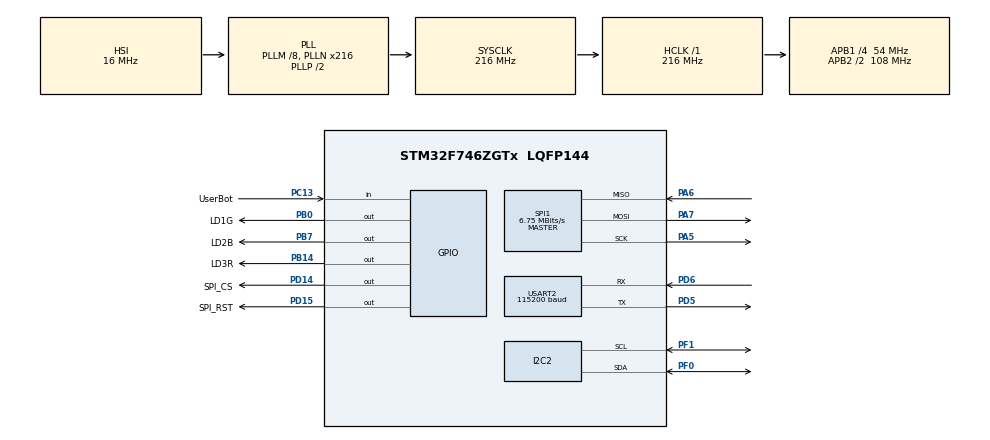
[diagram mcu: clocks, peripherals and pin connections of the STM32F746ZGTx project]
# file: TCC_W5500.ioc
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I2C2.Timing=0x20404768
Mcu.Family=STM32F7
Mcu.Name=STM32F746ZGTx
Mcu.Package=LQFP144
NVIC.PriorityGroup=NVIC_PRIORITYGROUP_4
NVIC.TIM2_IRQn=true\:0\:0\:false\:false\:true\:true\:true\:true
PA13.Mode=Serial_Wire
PA13.Signal=SYS_JTMS-SWDIO
PA14.Mode=Serial_Wire
PA14.Signal=SYS_JTCK-SWCLK
PA5.Mode=Full_Duplex_Master
PA5.Signal=SPI1_SCK
PA6.Mode=Full_Duplex_Master
PA6.Signal=SPI1_MISO
PA7.Mode=Full_Duplex_Master
PA7.Signal=SPI1_MOSI
PB0.GPIO_Label=LD1G
PB0.Signal=GPIO_Output
PB14.GPIO_Label=LD3R
PB14.Signal=GPIO_Output
PB7.GPIO_Label=LD2B
PB7.Signal=GPIO_Output
PC13.GPIO_Label=UserBot
PC13.Signal=GPIO_Input
PD14.GPIO_Label=SPI_CS
PD14.GPIO_Speed=GPIO_SPEED_FREQ_HIGH
PD14.Signal=GPIO_Output
PD15.GPIO_Label=SPI_RST
PD15.GPIO_Speed=GPIO_SPEED_FREQ_HIGH
PD15.Signal=GPIO_Output
PD5.Mode=Asynchronous
PD5.Signal=USART2_TX
PD6.Mode=Asynchronous
PD6.Signal=USART2_RX
PF0.Mode=I2C
PF0.Signal=I2C2_SDA
PF1.Mode=I2C
PF1.Signal=I2C2_SCL
PH0/OSC_IN.Mode=HSE-External-Oscillator
PH0/OSC_IN.Signal=RCC_OSC_IN
PH1/OSC_OUT.Mode=HSE-External-Oscillator
PH1/OSC_OUT.Signal=RCC_OSC_OUT
ProjectManager.HeapSize=0x200
ProjectManager.StackSize=0x400
ProjectManager.TargetToolchain=STM32CubeIDE
RCC.AHBFreq_Value=216000000
RCC.APB1CLKDivider=RCC_HCLK_DIV4
RCC.APB1Freq_Value=54000000
RCC.APB1TimFreq_Value=108000000
RCC.APB2CLKDivider=RCC_HCLK_DIV2
RCC.APB2Freq_Value=108000000
RCC.APB2TimFreq_Value=216000000
RCC.CortexFreq_Value=216000000
RCC.HCLKFreq_Value=216000000
RCC.HSE_VALUE=25000000
RCC.HSI_VALUE=16000000
RCC.LSE_VALUE=32768
RCC.PLLM=8
RCC.PLLN=216
RCC.SYSCLKFreq_VALUE=216000000
RCC.SYSCLKSource=RCC_SYSCLKSOURCE_PLLCLK
RCC.USBFreq_Value=216000000
RCC.VCOOutputFreq_Value=432000000
SPI1.BaudRatePrescaler=SPI_BAUDRATEPRESCALER_16
SPI1.CalculateBaudRate=6.75 MBits/s
SPI1.DataSize=SPI_DATASIZE_8BIT
SPI1.Direction=SPI_DIRECTION_2LINES
SPI1.Mode=SPI_MODE_MASTER
SPI1.VirtualType=VM_MASTER
TIM2.Period=10000-1
TIM2.Prescaler=6400-1
USART2.BaudRate=115200
USART2.VirtualMode-Asynchronous=VM_ASYNC
VP_TIM2_VS_ClockSourceINT.Mode=Internal
board=custom

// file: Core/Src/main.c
/* USER CODE BEGIN Header */
/**
  ******************************************************************************
  * @file           : main.c
  * @brief          : Main program body
  ******************************************************************************
  * @attention
  *
  * Copyright (c) 2024 STMicroelectronics.
  * All rights reserved.
  *
  * This software is licensed under terms that can be found in the LICENSE file
  * in the root directory of this software component.
  * If no LICENSE file comes with this software, it is provided AS-IS.
  *
  ******************************************************************************
  */
/* USER CODE END Header */
#include "main.h"
#include "i2c.h"
#include "spi.h"
#include "tim.h"
#include "usart.h"
#include "gpio.h"

/* USER CODE BEGIN Includes */
#include <stdio.h> //incluido para o uso do setbuf
#include <string.h> //utilizado para o setcompare, possibilitando a comparacao com uma palavra recebida possibilitando controlar algo
//w5500 related
#include "w5500_spi.h"
#include "wizchip_conf.h"
#include "socket.h"

/* USER CODE END Includes */

/* USER CODE BEGIN PTD */
typedef enum {
    LD1G = 0,
    LD2B,
	LD3R,
	SAIR,
	TEMP,
	MAX,
	MIN,
	DESCONHECIDO
} ComandosID;

/* USER CODE END PTD */

/* USER CODE BEGIN PD */
//Define o endereco do adaptador, substitua pelos desejados ao ser utilizado
wiz_NetInfo gWIZNETINFO = {
		.mac = { 0x80, 0x34, 0x28, 0x74, 0xA5, 0xCB },//MSB - LSB
		.ip ={ 10, 0, 0, 102}, //os 3 primeiros valores devem ser iguais ao da rede alocada, o ultimo valor sera o endereco dentro dessa rede, em uma rede caseira com poucos aparelhos conectados, recomenda-se o uso de um valor acima de 100
		.sn = { 255, 255, 255, 0}, //subnet mask, deve ser o mesmo da sua rede, geralmente e 255.255.255.0
		.gw ={ 10, 0, 0, 1}, //gateway padrao quando conectado a um modem e o seu valor sao os 3 valores identicos ao da rede, mudando apenas o ultimo o qual tende a ser 1
		.dns = { 8, 8, 8, 8 },
		.dhcp = NETINFO_STATIC };

//The TCP Port on which we will listen
//Definicoes para o modo de servidor
#define LISTEN_PORT 5000  //define a porta que vai ser utilizada para o cliente se conectar no servidor
#define RECEIVE_BUFF_SIZE 128 //tamanho maximo de caracteres a ser recebido* (perguntar pra ter certeza)

//defines do TMP100
#define TMP100_ADDR        0x92

#define TMP100_REG_TEMP    0x00
#define TMP100_REG_CONFIG  0x01
/* USER CODE END PD */

/* USER CODE BEGIN PV */
//Definicoes para o modo Client
uint8_t destination_ip[]={10, 0, 0, 230}; //ip para onde deseja enviar os dados, no caso o computador ou servidor que ira receber as informacoes, deve ser na mesma rede definida nas configuracoes acima
uint16_t destination_port = 2222; //define a porta na qual sera procurada quando conectado a rede

uint8_t receive_buff[RECEIVE_BUFF_SIZE];//to receive data from client
uint8_t sn = 1;//define o socket a ser utilizado podendo ser de 0-7
int minha_porta_local = 5000;
uint8_t snaux = 0;
uint8_t tmaux = 0;
int tld1 = 0;
int tld2 = 0;
int tld3 = 0;
float temperatura;
float maxtemp = 0;
float mintemp = 50;
uint32_t ultimoEnvioTick = 0;
const uint32_t INTERVALO_ENVIO = 1000;
uint32_t start_time_led1 = 0, start_time_led2 = 0, start_time_led3 = 0, tempo_uso = 0;
/* USER CODE END PV */

void SystemClock_Config(void);
/* USER CODE BEGIN PFP */
//funcoes enviadas para a serial
static void UWriteData(const char data);
static void PHYStatusCheck(void);
static void PrintPHYConf(void);
void TMP100_Init(void);
float TMP100_ReadTemp(void);
void Socket_Status(void);
void Modo_Client_Sensor_Temp(void);
void Modo_Server(void);
void I2C_Scanner(void);
void OnOff_Led_RedeCMD(void);
void Modo_Client(void);
void Comandos_Servidor(void);
ComandosID InterpretarComando(char* buffer);

/* USER CODE END PFP */

int main(void)
{

  /* MCU Configuration--------------------------------------------------------*/

  /* Reset of all peripherals, Initializes the Flash interface and the Systick. */
  HAL_Init();

  /* USER CODE BEGIN Init */
  setbuf(stdout, NULL); //para enviar a linha assim que for escrita sem bufferizacao
  /* USER CODE END Init */

  /* Configure the system clock */
  SystemClock_Config();

  /* Initialize all configured peripherals */
  MX_GPIO_Init();
  MX_SPI1_Init();
  MX_USART2_UART_Init();
  MX_I2C2_Init();
  MX_TIM2_Init();
  /* USER CODE BEGIN 2 */
  HAL_Delay(100);
  __HAL_SPI_ENABLE(&hspi1);
  HAL_TIM_Base_Start_IT(&htim2);

  printf("Inicializando W5500!\r\n");

   W5500Init();
   TMP100_Init();
   //I2C_Scanner();

   ctlnetwork(CN_SET_NETINFO, (void*) &gWIZNETINFO);//envia os dados do adapatador definidos anteriormente para inicialializacao

   PHYStatusCheck();//checa a presenca da conexao pelo cabo ethernet ate que haja uma conexao
   PrintPHYConf();//envia os dados da configuracao do adaptador

  /* USER CODE END 2 */

  /* Infinite loop */
  while (1)
  {

    /* USER CODE BEGIN 3 */
	//Return value of the send() function is the amount of data sent
	Modo_Client();
	//Modo_Server();

  }
  /* USER CODE END 3 */
}

void SystemClock_Config(void)
{
  RCC_OscInitTypeDef RCC_OscInitStruct = {0};
  RCC_ClkInitTypeDef RCC_ClkInitStruct = {0};

  /** Configure the main internal regulator output voltage
  */
  __HAL_RCC_PWR_CLK_ENABLE();
  __HAL_PWR_VOLTAGESCALING_CONFIG(PWR_REGULATOR_VOLTAGE_SCALE1);

  /** Initializes the RCC Oscillators according to the specified parameters
  * in the RCC_OscInitTypeDef structure.
  */
  RCC_OscInitStruct.OscillatorType = RCC_OSCILLATORTYPE_HSI;
  RCC_OscInitStruct.HSIState = RCC_HSI_ON;
  RCC_OscInitStruct.HSICalibrationValue = RCC_HSICALIBRATION_DEFAULT;
  RCC_OscInitStruct.PLL.PLLState = RCC_PLL_ON;
  RCC_OscInitStruct.PLL.PLLSource = RCC_PLLSOURCE_HSI;
  RCC_OscInitStruct.PLL.PLLM = 8;
  RCC_OscInitStruct.PLL.PLLN = 216;
  RCC_OscInitStruct.PLL.PLLP = RCC_PLLP_DIV2;
  RCC_OscInitStruct.PLL.PLLQ = 2;
  if (HAL_RCC_OscConfig(&RCC_OscInitStruct) != HAL_OK)
  {
    Error_Handler();
  }

  /** Activate the Over-Drive mode
  */
  if (HAL_PWREx_EnableOverDrive() != HAL_OK)
  {
    Error_Handler();
  }

  /** Initializes the CPU, AHB and APB buses clocks
  */
  RCC_ClkInitStruct.ClockType = RCC_CLOCKTYPE_HCLK|RCC_CLOCKTYPE_SYSCLK
                              |RCC_CLOCKTYPE_PCLK1|RCC_CLOCKTYPE_PCLK2;
  RCC_ClkInitStruct.SYSCLKSource = RCC_SYSCLKSOURCE_PLLCLK;
  RCC_ClkInitStruct.AHBCLKDivider = RCC_SYSCLK_DIV1;
  RCC_ClkInitStruct.APB1CLKDivider = RCC_HCLK_DIV4;
  RCC_ClkInitStruct.APB2CLKDivider = RCC_HCLK_DIV2;

  if (HAL_RCC_ClockConfig(&RCC_ClkInitStruct, FLASH_LATENCY_7) != HAL_OK)
  {
    Error_Handler();
  }
}

/* USER CODE BEGIN 4 */
void UWriteData(const char data)
{
	while(__HAL_UART_GET_FLAG(&huart2,UART_FLAG_TXE)==RESET);

	huart2.Instance->TDR=data;

}

int __io_putchar(int ch)
{
	UWriteData(ch);
	return ch;
}

void PHYStatusCheck(void)
{
	uint8_t tmp;

	do
	{
		printf("\r\nChecking Ethernet Cable Presence ...");
		ctlwizchip(CW_GET_PHYLINK, (void*) &tmp);

		if(tmp == PHY_LINK_OFF)
		{
			printf("NO Cable Connected!");
			HAL_Delay(1500);
		}
	}while(tmp == PHY_LINK_OFF);

	printf("Good! Cable got connected!");

}

void PrintPHYConf(void)
{
	wiz_PhyConf phyconf;

	ctlwizchip(CW_GET_PHYCONF, (void*) &phyconf);

	if(phyconf.by==PHY_CONFBY_HW)
	{
		printf("\n\rPHY Configured by Hardware Pins");
	}
	else
	{
		printf("\n\rPHY Configured by Registers");
	}

	if(phyconf.mode==PHY_MODE_AUTONEGO)
	{
		printf("\n\rAutonegotiation Enabled");
	}
	else
	{
		printf("\n\rAutonegotiation NOT Enabled");
	}

	if(phyconf.duplex==PHY_DUPLEX_FULL)
	{
		printf("\n\rDuplex Mode: Full");
	}
	else
	{
		printf("\n\rDuplex Mode: Half");
	}

	if(phyconf.speed==PHY_SPEED_10)
	{
		printf("\n\rSpeed: 10Mbps");
	}
	else
	{
		printf("\n\rSpeed: 100Mbps");
	}
}

void Socket_Status(void)
{
	switch(getSn_SR(sn)) // Lê o Status Register do Socket
		{
		    case SOCK_CLOSED:
			// 1. Se o socket está FECHADO, precisamos abri-lo primeiro.
			// Se a conexão anterior falhou, o W5500 volta para cá automaticamente.
			printf("Socket Fechado. Reabrindo...\r\n");
			// Incrementa a porta para o servidor não confundir com a conexão anterior
			minha_porta_local++;
			if (minha_porta_local > 60000) minha_porta_local = 5000; // Reseta se ficar muito alto
			// Usa a porta variável
			if(socket(sn, Sn_MR_TCP, minha_porta_local, 0) == sn)
			{
				printf("Socket Aberto na porta local: %d. Estado -> INIT\r\n", minha_porta_local);
			}
			else
			{
				printf("Falha ao criar socket.\r\n");
			}
			break;
			case SOCK_INIT:
				if(destination_ip[0] == 0)
				{
					printf("ERRO: IP Zerado. Arrumando...\r\n");
					break;
				}
				printf("Enviando SYN para %d.%d.%d.%d...\r\n", destination_ip[0], destination_ip[1], destination_ip[2], destination_ip[3]);
				int8_t ret = connect(sn, destination_ip, destination_port);
				if (ret == SOCK_OK)
				{
					printf("Comando aceito. Aguardando resposta do servidor...\r\n");
				}
				else if (ret == -13) { // SOCKERR_TIMEOUT
					printf("ERRO -13: TIMEOUT! O PC nao respondeu. Verifique Firewall e Cabo.\r\n");
					close(sn); // Fecha para tentar de novo
					}
				else if (ret == -4) { // SOCKERR_SOCKCLOSED
					printf("ERRO -4: Socket Fechado! O comando socket() anterior falhou ou foi lento.\r\n");
					close(sn); // Reinicia o ciclo
					}
				else {
					printf("ERRO desconhecido: %d\r\n", ret);
					close(sn);
				}
				HAL_Delay(1000);
				break;
				case SOCK_ESTABLISHED:
					// 3. Conexão feita! O servidor aceitou.
					// Verifique se tem dados chegando
					if(getSn_IR(sn) & Sn_IR_CON) {
						setSn_IR(sn, Sn_IR_CON); // Limpa flag de interrupção de conexão
						// Pode acender um LED indicando conexão aqui
						}
					if(snaux == 0)
					{
						printf("\r\nConexao Realizada");
					}
					snaux = 1;
					break;
				case SOCK_CLOSE_WAIT:
					// Devemos desconectar e fechar o socket para reiniciar o ciclo.
					disconnect(sn);
					close(sn);
					snaux = 0;
					HAL_Delay(1000);
					break;
				default:
					// Tratamento de erros/timeouts
					break;
		}
}

void Modo_Client_Sensor_Temp(void)
{
	if(snaux == 1 && (HAL_GetTick() - ultimoEnvioTick >= INTERVALO_ENVIO))
	{
		ultimoEnvioTick = HAL_GetTick();
		// Leitura do Sensor
		temperatura = TMP100_ReadTemp();
		if(temperatura > maxtemp)
		{
			maxtemp = temperatura;
		}
		else if (temperatura < mintemp)
		{
			mintemp = temperatura;
		}
		char msg_temp[50];
		sprintf(msg_temp, "%.2f", temperatura);
		send(sn, (uint8_t*)msg_temp, strlen(msg_temp));
		/*if((send(sn, (uint8_t*)msg_temp, strlen(msg_temp)))<=SOCK_ERROR) //envia o a mensagem para o servidor, sendo o segundo componente a mensagem e o terceiro o numero de caracteres
		{
			printf("\r\nSending Failed!");//envia que a mensagem nao foi enviada para a serial caso o servidor tenha sido fechado, gerando um erro no socket pois fechou a conexao
			while(1);
		}
		else
		{
			printf("\r\nSending Success!\r\n"); //apensa um retorno pela serial que foi executado com sucesso o envio da mensagem
		}*/
	  }
}

void OnOff_Led_RedeCMD(void)
{

	int len = getSn_RX_RSR(sn);
	if(len > 0)
	{
		recv(sn, (uint8_t*)receive_buff, len);
		receive_buff[len] = '\0';
		char msg_rtrn[64];
		switch (InterpretarComando(((char*) receive_buff)))
		{
		case LD1G:
			HAL_GPIO_TogglePin(LD1G_GPIO_Port,LD1G_Pin);
			if(HAL_GPIO_ReadPin(LD1G_GPIO_Port,LD1G_Pin) == GPIO_PIN_SET)
			{
				start_time_led1 = HAL_GetTick();
				send(sn,(uint8_t*)"LED Verde Ligado\r\n",20);
			}
			else
			{
				tempo_uso = (HAL_GetTick() - start_time_led1) / 1000;
				sprintf(msg_rtrn, "LED Verde Desligado apos %lus \r\n", tempo_uso);
				send(sn, (uint8_t*)msg_rtrn, strlen(msg_rtrn));
			}
		break;
		case LD2B:
			HAL_GPIO_TogglePin(LD2B_GPIO_Port,LD2B_Pin);
			if(HAL_GPIO_ReadPin(LD2B_GPIO_Port,LD2B_Pin) == GPIO_PIN_SET)
			{
				start_time_led2 = HAL_GetTick();
				send(sn,(uint8_t*)"LED Azul Ligado\r\n",19);
			}
			else
			{
				tempo_uso = (HAL_GetTick() - start_time_led2) / 1000;
				sprintf(msg_rtrn, "LED Azul Desligado apos %lus \r\n", tempo_uso);
				send(sn, (uint8_t*)msg_rtrn, strlen(msg_rtrn));
			}
		break;
		case LD3R:
			HAL_GPIO_TogglePin(LD3R_GPIO_Port,LD3R_Pin);
			if(HAL_GPIO_ReadPin(LD3R_GPIO_Port,LD3R_Pin) == GPIO_PIN_SET)
			{
				start_time_led3 = HAL_GetTick();
				send(sn,(uint8_t*)"LED Vermelho Ligado\r\n",23);
			}
			else
			{
				tempo_uso = (HAL_GetTick() - start_time_led3) / 1000;
				sprintf(msg_rtrn, "LED Vermelho Desligado apos %lus \r\n", tempo_uso);
				send(sn, (uint8_t*)msg_rtrn, strlen(msg_rtrn));
			}
		break;
		case MAX:
			sprintf(msg_rtrn, "Temperatura maxima registrada: %.2fC \r\n", maxtemp);
			send(sn, (uint8_t*)msg_rtrn, strlen(msg_rtrn));
		break;
		case MIN:
			sprintf(msg_rtrn, "Temperatura minima registrada: %.2fC \r\n", mintemp);
			send(sn, (uint8_t*)msg_rtrn, strlen(msg_rtrn));
		break;
		default:
			send(sn,(uint8_t*)"Funcao Desconhecida\r\n",21);
		break;
		}
	}
}

void HAL_TIM_PeriodElapsedCallback(TIM_HandleTypeDef *htim)
{
    if (htim->Instance == TIM2)
    {
    	tmaux = 1;
    	tld1++;
    	tld2++;
    	tld3++;
    }
}

void Modo_Client(void)
{
	Socket_Status();
	Modo_Client_Sensor_Temp();
	OnOff_Led_RedeCMD();
}

void Modo_Server(void)
{
	printf("\r\nInitializing server socket\r\n");
	//Parameters in order socket_id, protocol TCP or UDP, Port number, Flags=0
	//Return value is socket ID on success
	if(sn>7)//verifica se o valor do socket esta dentro dos valores existentes
	{
		//error
		printf("Valor do Socket acima do permitido!\r\n");
		while(1);//halt here
	}
	if(socket(sn,Sn_MR_TCP,LISTEN_PORT,0)!=sn)//definindo o socket como servidor
	{
		//error
		printf("Cannot create Socket!\r\n");
		while(1);//halt here
	}
	 //success
	printf("Socket Created Successfully ! \r\n");
	uint8_t socket_io_mode=SOCK_IO_BLOCK;
	ctlsocket(sn, CS_SET_IOMODE , &socket_io_mode);//set blocking IO mode
	printf("Start listening on port %d ! \r\n",LISTEN_PORT);
	printf("Waiting for a client connection. \r\n");
	//Make it a passive socket (i.e. listen for connection)
	if(listen(sn)!=SOCK_OK)//our socket id is 1 (w5500 have 8 sockets from 0-7)
	{
		//error
		printf("Cannot listen on port %d",LISTEN_PORT);
		while(1);
	}
	uint8_t sr=0x00;//socket status register
	do
	{
		sr=getSn_SR(sn);//read status reg (SR of socket 1)
	}while (sr!=0x17 && sr!=0x00);
	if(sr==0x00)
	{
		printf("Some error occurred on server socket. Please restart.\r\n");
		while(1);
	}
	if(sr==0x17)
	{
		//we come here only when a client has connected.
		//Now we can read data from the socket
		printf("A client connected!\r\n");
		printf("Waiting for Client Data ...!\r\n");
		while(1)
		{
			int len=recv(sn, receive_buff, RECEIVE_BUFF_SIZE); //cria uma variavel a qual recebe os dados do cliente
			if(len==SOCKERR_SOCKSTATUS) //verifica se o cliente perdeu a conexao com o servidor
			{
				//client has disconnected
				printf("Client has disconnected\r\n");
				printf("*** SESSION OVER ***\r\n\r\n");
				break;
			}
			receive_buff[len]='\0'; //recebe os dados ate o final do desejado, onde \0 indica o fim dos dados
			printf("Received %d bytes from client\r\n",len);
			printf("Data Received: %s", receive_buff);
			//Echo the data back encloused in a [] pair
			send(sn,(uint8_t*)"[",1);//starting sq bracket
			send(sn,receive_buff,len);// the data
			send(sn,(uint8_t*)"]\r\n",5);//closing sq bracket
			if(len > 0)
			{
				Comandos_Servidor();

			}
			printf("\r\nECHO sent back to client\r\n");

			  }//While loop (as long as client is connected)
		  }//if block, client connect success
}

void Comandos_Servidor(void)
{
	switch (InterpretarComando(((char*) receive_buff)))
	{
	case LD1G:
		HAL_GPIO_TogglePin(LD1G_GPIO_Port,LD1G_Pin);
		if(HAL_GPIO_ReadPin(LD1G_GPIO_Port,LD1G_Pin) == GPIO_PIN_SET)
		{
			send(sn,(uint8_t*)"LED Verde Ligado\r\n",20);
		}
		else
		{
			send(sn,(uint8_t*)"LED Verde Desligado\r\n",23);
		}
	break;
	case LD2B:
		HAL_GPIO_TogglePin(LD2B_GPIO_Port,LD2B_Pin);
		if(HAL_GPIO_ReadPin(LD2B_GPIO_Port,LD2B_Pin) == GPIO_PIN_SET)
		{
			send(sn,(uint8_t*)"LED Azul Ligado\r\n",19);
		}
		else
		{
			send(sn,(uint8_t*)"LED Azul Desligado\r\n",22);
		}
	break;
	case LD3R:
		HAL_GPIO_TogglePin(LD3R_GPIO_Port,LD3R_Pin);
		if(HAL_GPIO_ReadPin(LD3R_GPIO_Port,LD3R_Pin) == GPIO_PIN_SET)
		{
			send(sn,(uint8_t*)"LED Vermelho Ligado\r\n",23);
		}
		else
		{
			send(sn,(uint8_t*)"LED Vermelho Desligado\r\n",26);
		}
	break;
	case TEMP:
		float temperatura = TMP100_ReadTemp();
		char msg_temp[50];
		sprintf(msg_temp, "Temp: %.2f C\r\n", temperatura);
		send(sn, (uint8_t*)msg_temp, strlen(msg_temp));
		break;
		case SAIR:
			send(sn,(uint8_t*)"Sendo Desconectado\r\n",23);
			disconnect(sn);
		break;
		default:
			send(sn,(uint8_t*)"Funcao Desconhecida\r\n",21);
		break;
	}
}

ComandosID InterpretarComando(char* buffer)
{
    // Compara o buffer com as palavras conhecidas
	if (strncmp(buffer, "LD1G", 4) == 0) return LD1G;
	if (strncmp(buffer, "LD2B", 4) == 0) return LD2B;
	if (strncmp(buffer, "LD3R", 4) == 0) return LD3R;
	if (strncmp(buffer, "SAIR", 4) == 0) return SAIR;
	if (strncmp(buffer, "TEMP", 4) == 0) return TEMP;
	if (strncmp(buffer, "MAX", 3) == 0) return MAX;
	if (strncmp(buffer, "MIN", 3) == 0) return MIN;

    return DESCONHECIDO;
}

//funções do TMP100
void TMP100_Init(void)
{
    uint8_t data[2];

    // Seleciona o registrador de Configuração
    data[0] = TMP100_REG_CONFIG;

    // Configura para 12-bit resolution (Bits R1/R0 = 11)
    // Valor 0x60 = 0110 0000 em binário
    data[1] = 0x60;

    // Envia o comando
    if (HAL_I2C_Master_Transmit(&hi2c2, TMP100_ADDR, data, 2, 100) != HAL_OK) {
        printf("Erro ao inicializar TMP100\r\n");
    } else {
        printf("TMP100 Configurado para 12-bits.\r\n");
    }
}

float TMP100_ReadTemp(void) {
    uint8_t buffer[2];
    int16_t raw_temp;

    // 1. Aponta para o registrador de temperatura
    buffer[0] = TMP100_REG_TEMP;
    HAL_I2C_Master_Transmit(&hi2c2, TMP100_ADDR, buffer, 1, 100);

    // 2. Lê 2 bytes de dados
    if (HAL_I2C_Master_Receive(&hi2c2, TMP100_ADDR, buffer, 2, 100) == HAL_OK) {

        // 3. Combina os bytes
        // O TMP100 retorna 12 bits alinhados à esquerda dentro de 16 bits
        // Ex: [Temp Alta] [Temp Baixa]
        raw_temp = (buffer[0] << 8) | buffer[1];

        // Desloca 4 bits para a direita (para alinhar os 12 bits)
        raw_temp = raw_temp >> 4;

        // Multiplica pela resolução de 12 bits (0.0625)
        return raw_temp * 0.0625f;
    }
    else {
        printf("Erro de leitura I2C\r\n");
        return -999.0f; // Valor de erro
    }
}

void I2C_Scanner(void) {
    printf("Iniciando Scanner I2C...\r\n");
    HAL_StatusTypeDef result;
    uint8_t i;
    int dispositivosEncontrados = 0;

    for (i = 1; i < 128; i++) {
        /*
         * O HAL requer o endereço deslocado para a esquerda (i << 1).
         * Tentamos conectar 2 vezes (trials) com timeout de 10ms
         */
        result = HAL_I2C_IsDeviceReady(&hi2c2, (uint16_t)(i << 1), 2, 10);

        if (result == HAL_OK) {
            printf("Dispositivo encontrado no endereco: 0x%02X (HAL: 0x%02X)\r\n", i, (i << 1));
            dispositivosEncontrados++;
        }
    }

    if (dispositivosEncontrados == 0) {
        printf("Nenhum dispositivo I2C encontrado. Verifique conexoes/pull-ups.\r\n");
    } else {
        printf("Scan concluido.\r\n");
    }
}

/* USER CODE END 4 */

void Error_Handler(void)
{
  __disable_irq();
  while (1)
  {
  }
}
